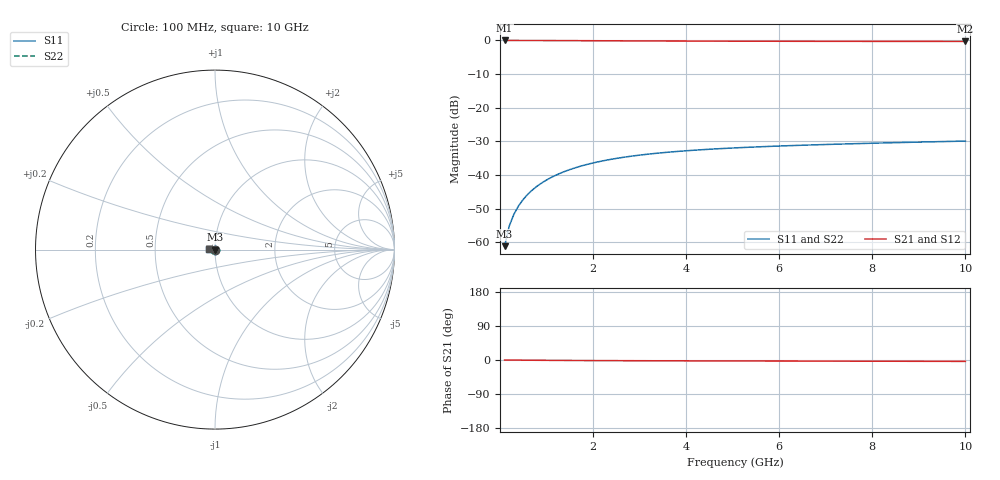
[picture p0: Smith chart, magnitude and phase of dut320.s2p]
! Touchstone file exported from HFSS 2024.1.0
!  File:  C:/UserFiles/LocalFiles/RDL_TSV_Batchsim/temp_TSV1_320_1779616745.aedt
!  Generated:  06:04:19 PM May 24, 2026
!  Design:  TSV1
!  Project:  temp_TSV1_320_1779616745
!  Setup:  Setup1
!  Solution:  Sweep
! Variables:
!  dtsv = 11.21um
!  hbump = 3um
!  htsv = 52.75um
!  lrdl = 252.1521522um
!  p = 40
!  p1 = 55.78um
!  t = 500um
!  trdl = 3um
!  wrdl = 24.89489489um
# GHz S MA R 50.000000
! Terminal data exported
! Port[1] = TSV22_T1
! Port[2] = TSV22_T2
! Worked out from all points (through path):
!   100 points, 100 MHz to 10 GHz, reference 50 ohm
!   highest |S21| = 0.00 dB at 100 MHz (marker M1); lowest = -0.3 dB at 10 GHz (marker M2)
!   lowest |S11| = -61.2 dB at 100 MHz (marker M3), VSWR 1.00, Z = 50 - j0.0874 ohm
!   |S11| at or under -10 dB: start of sweep to end of sweep
!   |S22| runs from -61.2 to -29.9 dB; largest |S21 - S12| = 4e-15
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0.1  0.0008756 -86.2  0.9999 -0.1  0.9999 -0.1  0.0008756 -86.2
! Gamma 0 0 0 0
! Port Impedance 50 0 50 0
0.2  0.001745 -90.9  0.9998 -0.2  0.9998 -0.2  0.001745 -90.9
0.3  0.002616 -93.9  0.9996 -0.3  0.9996 -0.3  0.002616 -93.9
0.4  0.003481 -96.4  0.9994 -0.4  0.9994 -0.4  0.003481 -96.4
0.5  0.004339 -98.7  0.9991 -0.5  0.9991 -0.5  0.004339 -98.7
0.6  0.005187 -100.9  0.9987 -0.5  0.9987 -0.5  0.005187 -100.9
0.7  0.00602 -103.1  0.9984 -0.6  0.9984 -0.6  0.00602 -103.1
0.8  0.006839 -105.1  0.9979 -0.7  0.9979 -0.7  0.006839 -105.1
0.9  0.007641 -107.2  0.9974 -0.8  0.9974 -0.8  0.007641 -107.2
1.1  0.009189 -111.1  0.9964 -0.9  0.9964 -0.9  0.009189 -111.1
1.4  0.01136 -116.7  0.9946 -1.1  0.9946 -1.1  0.01136 -116.7
1.6  0.01269 -120.2  0.9933 -1.3  0.9933 -1.3  0.01269 -120.2
1.8  0.01394 -123.6  0.992 -1.4  0.992 -1.4  0.01394 -123.6
2.1  0.01565 -128.4  0.9899 -1.6  0.9899 -1.6  0.01565 -128.4
2.5  0.01765 -134.3  0.9873 -1.7  0.9873 -1.7  0.01765 -134.3
2.9  0.01936 -139.6  0.9849 -1.9  0.9849 -1.9  0.01936 -139.6
3.4  0.02115 -145.6  0.9822 -2.1  0.9822 -2.1  0.02115 -145.6
4.2  0.02343 -153.8  0.9785 -2.3  0.9785 -2.3  0.02343 -153.8
5.1  0.0254 -161.6  0.9753 -2.5  0.9753 -2.5  0.0254 -161.6
6.7  0.028 -172.9  0.9713 -2.9  0.9713 -2.9  0.028 -172.9
8.4  0.03015 177.5  0.9686 -3.3  0.9686 -3.3  0.03015 177.5
10  0.03194 170.0  0.9669 -3.7  0.9669 -3.7  0.03194 170.0
